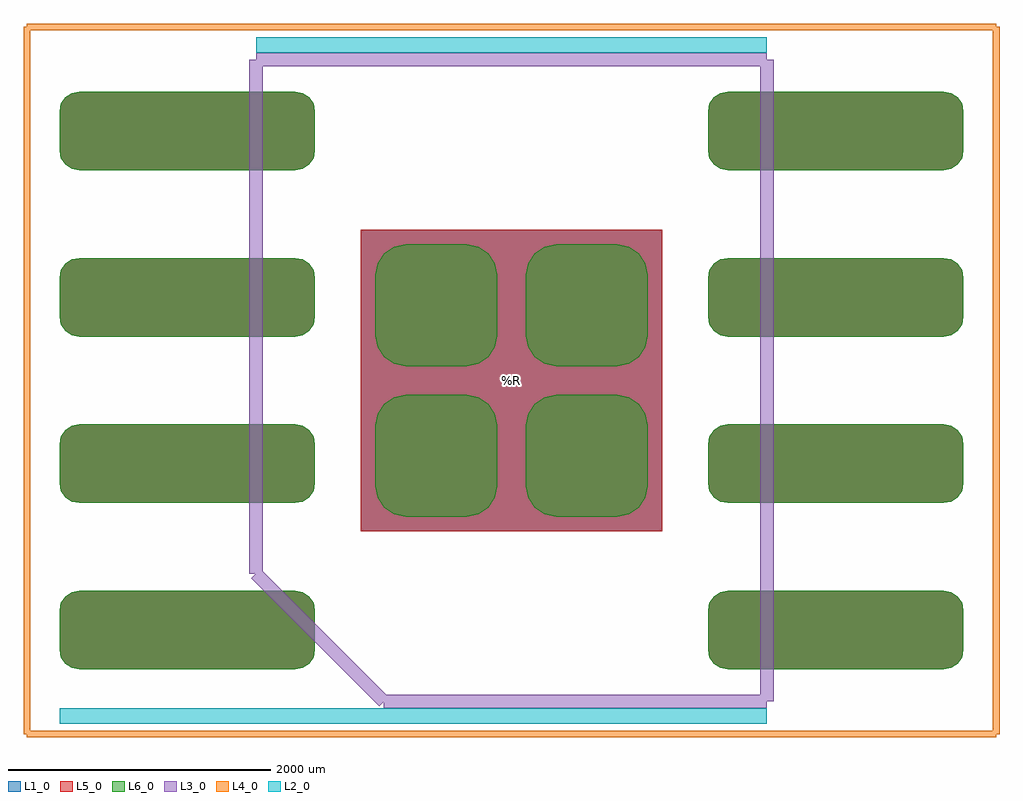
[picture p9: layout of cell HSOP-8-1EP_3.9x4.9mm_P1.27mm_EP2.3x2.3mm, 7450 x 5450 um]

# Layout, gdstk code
import gdstk
lib = gdstk.Library(unit=1e-6, precision=1e-09)
def R(c, l, rs):  # rectangles x0, y0, x1, y1
    for r in rs: c.add(gdstk.rectangle(r[:2], r[2:], *l))
def P(c, l, *ps):  # polygons
    for p in ps: c.add(gdstk.Polygon(p, *l))
L1_0 = (1, 0)
L2_0 = (2, 0)
L3_0 = (3, 0)
L4_0 = (4, 0)
L5_0 = (5, 0)
L6_0 = (6, 0)

hsop_8_1ep_3_9x4_9mm_p1_ = lib.new_cell('HSOP-8-1EP_3.9x4.9mm_P1.27mm_EP2.3x2.3mm')
R(hsop_8_1ep_3_9x4_9mm_p1_, L1_0, [(-1150,-1150,1150,1150)])
P(hsop_8_1ep_3_9x4_9mm_p1_, L1_0, [(-1650,-2205),(-1593,-2194),(-1544,-2161),(-1511,-2112),(-1500,-2055),(-1500,-1755),(-1511,-1698),(-1544,-1649),(-1593,-1616),(-1650,-1605),(-3300,-1605),(-3357,-1616),(-3406,-1649),(-3439,-1698),(-3450,-1755),(-3450,-2055),(-3439,-2112),(-3406,-2161),(-3357,-2194),(-3300,-2205)],
  [(-1650,-935),(-1593,-924),(-1544,-891),(-1511,-842),(-1500,-785),(-1500,-485),(-1511,-428),(-1544,-379),(-1593,-346),(-1650,-335),(-3300,-335),(-3357,-346),(-3406,-379),(-3439,-428),(-3450,-485),(-3450,-785),(-3439,-842),(-3406,-891),(-3357,-924),(-3300,-935)],
  [(-1650,335),(-1593,346),(-1544,379),(-1511,428),(-1500,485),(-1500,785),(-1511,842),(-1544,891),(-1593,924),(-1650,935),(-3300,935),(-3357,924),(-3406,891),(-3439,842),(-3450,785),(-3450,485),(-3439,428),(-3406,379),(-3357,346),(-3300,335)],
  [(-1650,1605),(-1593,1616),(-1544,1649),(-1511,1698),(-1500,1755),(-1500,2055),(-1511,2112),(-1544,2161),(-1593,2194),(-1650,2205),(-3300,2205),(-3357,2194),(-3406,2161),(-3439,2112),(-3450,2055),(-3450,1755),(-3439,1698),(-3406,1649),(-3357,1616),(-3300,1605)],
  [(3300,1605),(3357,1616),(3406,1649),(3439,1698),(3450,1755),(3450,2055),(3439,2112),(3406,2161),(3357,2194),(3300,2205),(1650,2205),(1593,2194),(1544,2161),(1511,2112),(1500,2055),(1500,1755),(1511,1698),(1544,1649),(1593,1616),(1650,1605)],
  [(3300,335),(3357,346),(3406,379),(3439,428),(3450,485),(3450,785),(3439,842),(3406,891),(3357,924),(3300,935),(1650,935),(1593,924),(1544,891),(1511,842),(1500,785),(1500,485),(1511,428),(1544,379),(1593,346),(1650,335)],
  [(3300,-935),(3357,-924),(3406,-891),(3439,-842),(3450,-785),(3450,-485),(3439,-428),(3406,-379),(3357,-346),(3300,-335),(1650,-335),(1593,-346),(1544,-379),(1511,-428),(1500,-485),(1500,-785),(1511,-842),(1544,-891),(1593,-924),(1650,-935)],
  [(3300,-2205),(3357,-2194),(3406,-2161),(3439,-2112),(3450,-2055),(3450,-1755),(3439,-1698),(3406,-1649),(3357,-1616),(3300,-1605),(1650,-1605),(1593,-1616),(1544,-1649),(1511,-1698),(1500,-1755),(1500,-2055),(1511,-2112),(1544,-2161),(1593,-2194),(1650,-2205)])
R(hsop_8_1ep_3_9x4_9mm_p1_, L5_0, [(-1150,-1150,1150,1150)])
P(hsop_8_1ep_3_9x4_9mm_p1_, L5_0, [(-1650,-2205),(-1593,-2194),(-1544,-2161),(-1511,-2112),(-1500,-2055),(-1500,-1755),(-1511,-1698),(-1544,-1649),(-1593,-1616),(-1650,-1605),(-3300,-1605),(-3357,-1616),(-3406,-1649),(-3439,-1698),(-3450,-1755),(-3450,-2055),(-3439,-2112),(-3406,-2161),(-3357,-2194),(-3300,-2205)],
  [(-1650,-935),(-1593,-924),(-1544,-891),(-1511,-842),(-1500,-785),(-1500,-485),(-1511,-428),(-1544,-379),(-1593,-346),(-1650,-335),(-3300,-335),(-3357,-346),(-3406,-379),(-3439,-428),(-3450,-485),(-3450,-785),(-3439,-842),(-3406,-891),(-3357,-924),(-3300,-935)],
  [(-1650,335),(-1593,346),(-1544,379),(-1511,428),(-1500,485),(-1500,785),(-1511,842),(-1544,891),(-1593,924),(-1650,935),(-3300,935),(-3357,924),(-3406,891),(-3439,842),(-3450,785),(-3450,485),(-3439,428),(-3406,379),(-3357,346),(-3300,335)],
  [(-1650,1605),(-1593,1616),(-1544,1649),(-1511,1698),(-1500,1755),(-1500,2055),(-1511,2112),(-1544,2161),(-1593,2194),(-1650,2205),(-3300,2205),(-3357,2194),(-3406,2161),(-3439,2112),(-3450,2055),(-3450,1755),(-3439,1698),(-3406,1649),(-3357,1616),(-3300,1605)],
  [(3300,1605),(3357,1616),(3406,1649),(3439,1698),(3450,1755),(3450,2055),(3439,2112),(3406,2161),(3357,2194),(3300,2205),(1650,2205),(1593,2194),(1544,2161),(1511,2112),(1500,2055),(1500,1755),(1511,1698),(1544,1649),(1593,1616),(1650,1605)],
  [(3300,335),(3357,346),(3406,379),(3439,428),(3450,485),(3450,785),(3439,842),(3406,891),(3357,924),(3300,935),(1650,935),(1593,924),(1544,891),(1511,842),(1500,785),(1500,485),(1511,428),(1544,379),(1593,346),(1650,335)],
  [(3300,-935),(3357,-924),(3406,-891),(3439,-842),(3450,-785),(3450,-485),(3439,-428),(3406,-379),(3357,-346),(3300,-335),(1650,-335),(1593,-346),(1544,-379),(1511,-428),(1500,-485),(1500,-785),(1511,-842),(1544,-891),(1593,-924),(1650,-935)],
  [(3300,-2205),(3357,-2194),(3406,-2161),(3439,-2112),(3450,-2055),(3450,-1755),(3439,-1698),(3406,-1649),(3357,-1616),(3300,-1605),(1650,-1605),(1593,-1616),(1544,-1649),(1511,-1698),(1500,-1755),(1500,-2055),(1511,-2112),(1544,-2161),(1593,-2194),(1650,-2205)])
P(hsop_8_1ep_3_9x4_9mm_p1_, L6_0, [(-1650,-2205),(-1593,-2194),(-1544,-2161),(-1511,-2112),(-1500,-2055),(-1500,-1755),(-1511,-1698),(-1544,-1649),(-1593,-1616),(-1650,-1605),(-3300,-1605),(-3357,-1616),(-3406,-1649),(-3439,-1698),(-3450,-1755),(-3450,-2055),(-3439,-2112),(-3406,-2161),(-3357,-2194),(-3300,-2205)],
  [(-1650,-935),(-1593,-924),(-1544,-891),(-1511,-842),(-1500,-785),(-1500,-485),(-1511,-428),(-1544,-379),(-1593,-346),(-1650,-335),(-3300,-335),(-3357,-346),(-3406,-379),(-3439,-428),(-3450,-485),(-3450,-785),(-3439,-842),(-3406,-891),(-3357,-924),(-3300,-935)],
  [(-1650,335),(-1593,346),(-1544,379),(-1511,428),(-1500,485),(-1500,785),(-1511,842),(-1544,891),(-1593,924),(-1650,935),(-3300,935),(-3357,924),(-3406,891),(-3439,842),(-3450,785),(-3450,485),(-3439,428),(-3406,379),(-3357,346),(-3300,335)],
  [(-1650,1605),(-1593,1616),(-1544,1649),(-1511,1698),(-1500,1755),(-1500,2055),(-1511,2112),(-1544,2161),(-1593,2194),(-1650,2205),(-3300,2205),(-3357,2194),(-3406,2161),(-3439,2112),(-3450,2055),(-3450,1755),(-3439,1698),(-3406,1649),(-3357,1616),(-3300,1605)],
  [(3300,1605),(3357,1616),(3406,1649),(3439,1698),(3450,1755),(3450,2055),(3439,2112),(3406,2161),(3357,2194),(3300,2205),(1650,2205),(1593,2194),(1544,2161),(1511,2112),(1500,2055),(1500,1755),(1511,1698),(1544,1649),(1593,1616),(1650,1605)],
  [(3300,335),(3357,346),(3406,379),(3439,428),(3450,485),(3450,785),(3439,842),(3406,891),(3357,924),(3300,935),(1650,935),(1593,924),(1544,891),(1511,842),(1500,785),(1500,485),(1511,428),(1544,379),(1593,346),(1650,335)],
  [(3300,-935),(3357,-924),(3406,-891),(3439,-842),(3450,-785),(3450,-485),(3439,-428),(3406,-379),(3357,-346),(3300,-335),(1650,-335),(1593,-346),(1544,-379),(1511,-428),(1500,-485),(1500,-785),(1511,-842),(1544,-891),(1593,-924),(1650,-935)],
  [(3300,-2205),(3357,-2194),(3406,-2161),(3439,-2112),(3450,-2055),(3450,-1755),(3439,-1698),(3406,-1649),(3357,-1616),(3300,-1605),(1650,-1605),(1593,-1616),(1544,-1649),(1511,-1698),(1500,-1755),(1500,-2055),(1511,-2112),(1544,-2161),(1593,-2194),(1650,-2205)],
  [(-342,-1040),(-254,-1022),(-178,-972),(-128,-896),(-110,-808),(-110,-342),(-128,-254),(-178,-178),(-254,-128),(-342,-110),(-807,-110),(-896,-128),(-972,-178),(-1022,-254),(-1040,-342),(-1040,-807),(-1022,-896),(-972,-972),(-896,-1022),(-808,-1040)],
  [(-342,110),(-254,128),(-178,178),(-128,254),(-110,342),(-110,808),(-128,896),(-178,972),(-254,1022),(-342,1040),(-807,1040),(-896,1022),(-972,972),(-1022,896),(-1040,808),(-1040,342),(-1022,254),(-972,178),(-896,128),(-808,110)],
  [(808,-1040),(896,-1022),(972,-972),(1022,-896),(1040,-808),(1040,-342),(1022,-254),(972,-178),(896,-128),(808,-110),(342,-110),(254,-128),(178,-178),(128,-254),(110,-342),(110,-807),(128,-896),(178,-972),(254,-1022),(342,-1040)],
  [(808,110),(896,128),(972,178),(1022,254),(1040,342),(1040,808),(1022,896),(972,972),(896,1022),(808,1040),(342,1040),(254,1022),(178,972),(128,896),(110,808),(110,342),(128,254),(178,178),(254,128),(342,110)])
hsop_8_1ep_3_9x4_9mm_p1_.add(gdstk.FlexPath([(0,2560),(1950,2560)], 120, ends="flush", simple_path=True, layer=2, datatype=0))  # L2_0
hsop_8_1ep_3_9x4_9mm_p1_.add(gdstk.FlexPath([(0,2560),(-1950,2560)], 120, ends="flush", simple_path=True, layer=2, datatype=0))  # L2_0
hsop_8_1ep_3_9x4_9mm_p1_.add(gdstk.FlexPath([(0,-2560),(1950,-2560)], 120, ends="flush", simple_path=True, layer=2, datatype=0))  # L2_0
hsop_8_1ep_3_9x4_9mm_p1_.add(gdstk.FlexPath([(0,-2560),(-3450,-2560)], 120, ends="flush", simple_path=True, layer=2, datatype=0))  # L2_0
hsop_8_1ep_3_9x4_9mm_p1_.add(gdstk.FlexPath([(-975,-2450),(1950,-2450)], 100, ends="flush", simple_path=True, layer=3, datatype=0))  # L3_0
hsop_8_1ep_3_9x4_9mm_p1_.add(gdstk.FlexPath([(1950,-2450),(1950,2450)], 100, ends="flush", simple_path=True, layer=3, datatype=0))  # L3_0
hsop_8_1ep_3_9x4_9mm_p1_.add(gdstk.FlexPath([(1950,2450),(-1950,2450)], 100, ends="flush", simple_path=True, layer=3, datatype=0))  # L3_0
hsop_8_1ep_3_9x4_9mm_p1_.add(gdstk.FlexPath([(-1950,2450),(-1950,-1475)], 100, ends="flush", simple_path=True, layer=3, datatype=0))  # L3_0
hsop_8_1ep_3_9x4_9mm_p1_.add(gdstk.FlexPath([(-1950,-1475),(-975,-2450)], 100, ends="flush", simple_path=True, layer=3, datatype=0))  # L3_0
hsop_8_1ep_3_9x4_9mm_p1_.add(gdstk.FlexPath([(-3700,-2700),(-3700,2700)], 50, ends="flush", simple_path=True, layer=4, datatype=0))  # L4_0
hsop_8_1ep_3_9x4_9mm_p1_.add(gdstk.FlexPath([(-3700,2700),(3700,2700)], 50, ends="flush", simple_path=True, layer=4, datatype=0))  # L4_0
hsop_8_1ep_3_9x4_9mm_p1_.add(gdstk.FlexPath([(3700,2700),(3700,-2700)], 50, ends="flush", simple_path=True, layer=4, datatype=0))  # L4_0
hsop_8_1ep_3_9x4_9mm_p1_.add(gdstk.FlexPath([(3700,-2700),(-3700,-2700)], 50, ends="flush", simple_path=True, layer=4, datatype=0))  # L4_0
hsop_8_1ep_3_9x4_9mm_p1_.add(gdstk.Label('REF**', (0,-3400), layer=2, texttype=0))
hsop_8_1ep_3_9x4_9mm_p1_.add(gdstk.Label('HSOP-8-1EP_3.9x4.9mm_P1.27mm_EP2.3x2.3mm', (0,3400), layer=3, texttype=0))
hsop_8_1ep_3_9x4_9mm_p1_.add(gdstk.Label('%R', (0,0), layer=3, texttype=0))

lib.write_gds('HSOP-8-1EP_3.9x4.9mm_P1.27mm_EP2.3x2.3mm.gds')
